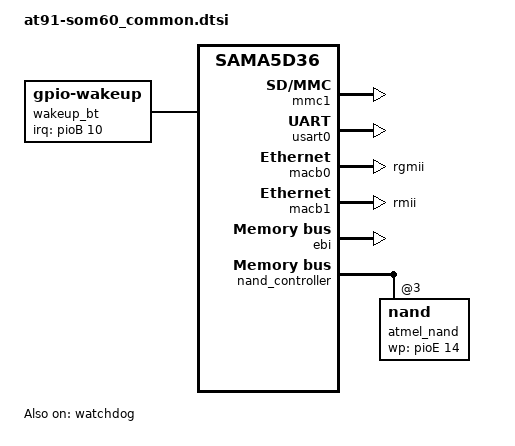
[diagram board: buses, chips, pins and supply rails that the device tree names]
// SPDX-License-Identifier: GPL-2.0
/*
 * at91-som60_common.dtsi - Device Tree common file for the SOM60 module
 *
 *  Copyright (C) 2018 Laird,
 *		  2018 Ben Whitten <ben.whitten@lairdconnect.com>
 *		  2018 Boris Krasnovskiy <boris.krasnovskiy@lairdconnect.com>
 *
 */
#include "sama5d36.dtsi"

/ {
	chosen {
		stdout-path = "serial0:115200n8";
	};

	reserved-memory {
		#address-cells = <1>;
		#size-cells = <1>;
		ranges;

		fs_reserved: fs_mem@31e000{
			reg = <0x31e000 0x2000>;
			no-map;
		};
	};

	fs_mem {
		compatible = "laird,fs_mem";
		memory-region = <&fs_reserved>;
	};

	wakeup_bt {
		pinctrl-names = "default";
		pinctrl-0 = <&pinctrl_bt_wake>;

		compatible = "gpio-wakeup";

		interrupts-extended = <&pioB 10 IRQ_TYPE_EDGE_FALLING>;
	};

	ahb {
		apb {
			sha@f8034000 {
				status = "disabled";
			};
		};
	};
};

&pinctrl {
	board {
		pinctrl_nand0_wp: nand0_wp {
			atmel,pins =
				<AT91_PIOE 14 AT91_PERIPH_GPIO AT91_PINCTRL_NONE>;
		};

		pinctrl_wifi_pmu_en: wifi_pmu_en {
			atmel,pins =
				<AT91_PIOE 5 AT91_PERIPH_GPIO AT91_PINCTRL_PULL_UP>;
		};

		pinctrl_wifi_wake: wifi_wake {
			atmel,pins =
				<AT91_PIOD 14 AT91_PERIPH_GPIO AT91_PINCTRL_PULL_UP_DEGLITCH>;
		};

		pinctrl_bt_wake: bt_wake {
			atmel,pins =
				<AT91_PIOB 10 AT91_PERIPH_GPIO AT91_PINCTRL_PULL_UP_DEGLITCH>;
		};
	};

	adc0 {
		pinctrl_adc0_adtrg_sleep: adc0_adtrg_1 {
			atmel,pins =
				<AT91_PIOD 19 AT91_PERIPH_GPIO AT91_PINCTRL_NONE>;
		};
		pinctrl_adc0_ad0_sleep: adc0_ad0_1 {
			atmel,pins =
				<AT91_PIOD 20 AT91_PERIPH_GPIO AT91_PINCTRL_NONE>;
		};
		pinctrl_adc0_ad1_sleep: adc0_ad1_1 {
			atmel,pins =
				<AT91_PIOD 21 AT91_PERIPH_GPIO AT91_PINCTRL_NONE>;
		};
		pinctrl_adc0_ad2_sleep: adc0_ad2_1 {
			atmel,pins =
				<AT91_PIOD 22 AT91_PERIPH_GPIO AT91_PINCTRL_NONE>;
		};
		pinctrl_adc0_ad3_sleep: adc0_ad3_1 {
			atmel,pins =
				<AT91_PIOD 23 AT91_PERIPH_GPIO AT91_PINCTRL_NONE>;
		};
		pinctrl_adc0_ad4_sleep: adc0_ad4_1 {
			atmel,pins =
				<AT91_PIOD 24 AT91_PERIPH_GPIO AT91_PINCTRL_NONE>;
		};
		pinctrl_adc0_ad5_sleep: adc0_ad5_1 {
			atmel,pins =
				<AT91_PIOD 25 AT91_PERIPH_GPIO AT91_PINCTRL_NONE>;	/* PD25 periph A AD5 */
		};
	};

	mmc0 {
		pinctrl_mmc0_clk_cmd_dat0_sleep: mmc0_clk_cmd_dat0_sleep {
			atmel,pins =
				<AT91_PIOD 9 AT91_PERIPH_GPIO AT91_PINCTRL_NONE	/* PD9 periph A MCI0_CK */
				 AT91_PIOD 0 AT91_PERIPH_GPIO AT91_PINCTRL_NONE	/* PD0 periph A MCI0_CDA with pullup */
				 AT91_PIOD 1 AT91_PERIPH_GPIO AT91_PINCTRL_NONE>;	/* PD1 periph A MCI0_DA0 with pullup */
		};
		pinctrl_mmc0_dat1_3_sleep: mmc0_dat1_3_sleep {
			atmel,pins =
				<AT91_PIOD 2 AT91_PERIPH_GPIO AT91_PINCTRL_NONE	/* PD2 periph A MCI0_DA1 with pullup */
				 AT91_PIOD 3 AT91_PERIPH_GPIO AT91_PINCTRL_NONE	/* PD3 periph A MCI0_DA2 with pullup */
				 AT91_PIOD 4 AT91_PERIPH_GPIO AT91_PINCTRL_NONE>;	/* PD4 periph A MCI0_DA3 with pullup */
		};
		pinctrl_mmc0_dat4_7_sleep: mmc0_dat4_7_sleep {
			atmel,pins =
				<AT91_PIOD 5 AT91_PERIPH_GPIO AT91_PINCTRL_NONE	/* PD5 periph A MCI0_DA4 with pullup, conflicts with TIOA0, PWMH2 */
				 AT91_PIOD 6 AT91_PERIPH_GPIO AT91_PINCTRL_NONE	/* PD6 periph A MCI0_DA5 with pullup, conflicts with TIOB0, PWML2 */
				 AT91_PIOD 7 AT91_PERIPH_GPIO AT91_PINCTRL_NONE	/* PD7 periph A MCI0_DA6 with pullup, conlicts with TCLK0, PWMH3 */
				 AT91_PIOD 8 AT91_PERIPH_GPIO AT91_PINCTRL_NONE>;	/* PD8 periph A MCI0_DA7 with pullup, conflicts with PWML3 */
		};
	};

	spi0 {
		pinctrl_spi0_sleep: spi0-0_sleep {
			atmel,pins =
				<AT91_PIOD 10 AT91_PERIPH_GPIO AT91_PINCTRL_NONE	/* PD10 periph A SPI0_MISO pin */
				 AT91_PIOD 11 AT91_PERIPH_GPIO AT91_PINCTRL_NONE	/* PD11 periph A SPI0_MOSI pin */
				 AT91_PIOD 12 AT91_PERIPH_GPIO AT91_PINCTRL_NONE>;	/* PD12 periph A SPI0_SPCK pin */
		};
	};

	spi1 {
		pinctrl_spi1_sleep: spi1-0_sleep {
			atmel,pins =
				<AT91_PIOC 22 AT91_PERIPH_GPIO AT91_PINCTRL_NONE	/* PC22 periph A SPI1_MISO pin */
				 AT91_PIOC 23 AT91_PERIPH_GPIO AT91_PINCTRL_NONE	/* PC23 periph A SPI1_MOSI pin */
				 AT91_PIOC 24 AT91_PERIPH_GPIO AT91_PINCTRL_NONE>;	/* PC24 periph A SPI1_SPCK pin */
		};
	};

	lcd {
		pinctrl_lcd_base_sleep: lcd-base-0_sleep {
			atmel,pins =
				<AT91_PIOA 26 AT91_PERIPH_GPIO AT91_PINCTRL_NONE	/* LCDVSYNC */
				 AT91_PIOA 27 AT91_PERIPH_GPIO AT91_PINCTRL_NONE	/* LCDHSYNC */
				 AT91_PIOA 25 AT91_PERIPH_GPIO AT91_PINCTRL_NONE	/* LCDDISP */
				 AT91_PIOA 29 AT91_PERIPH_GPIO AT91_PINCTRL_NONE	/* LCDDEN */
				 AT91_PIOA 28 AT91_PERIPH_GPIO AT91_PINCTRL_NONE>;	/* LCDPCK */
		};

		pinctrl_lcd_rgb444_sleep: lcd-rgb-0_sleep {
			atmel,pins =
				<AT91_PIOA 0 AT91_PERIPH_GPIO AT91_PINCTRL_NONE	/* LCDD0 pin */
				 AT91_PIOA 1 AT91_PERIPH_GPIO AT91_PINCTRL_NONE	/* LCDD1 pin */
				 AT91_PIOA 2 AT91_PERIPH_GPIO AT91_PINCTRL_NONE	/* LCDD2 pin */
				 AT91_PIOA 3 AT91_PERIPH_GPIO AT91_PINCTRL_NONE	/* LCDD3 pin */
				 AT91_PIOA 4 AT91_PERIPH_GPIO AT91_PINCTRL_NONE	/* LCDD4 pin */
				 AT91_PIOA 5 AT91_PERIPH_GPIO AT91_PINCTRL_NONE	/* LCDD5 pin */
				 AT91_PIOA 6 AT91_PERIPH_GPIO AT91_PINCTRL_NONE	/* LCDD6 pin */
				 AT91_PIOA 7 AT91_PERIPH_GPIO AT91_PINCTRL_NONE	/* LCDD7 pin */
				 AT91_PIOA 8 AT91_PERIPH_GPIO AT91_PINCTRL_NONE	/* LCDD8 pin */
				 AT91_PIOA 9 AT91_PERIPH_GPIO AT91_PINCTRL_NONE	/* LCDD9 pin */
				 AT91_PIOA 10 AT91_PERIPH_GPIO AT91_PINCTRL_NONE	/* LCDD10 pin */
				 AT91_PIOA 11 AT91_PERIPH_GPIO AT91_PINCTRL_NONE>;	/* LCDD11 pin */
		};

		pinctrl_lcd_rgb565_sleep: lcd-rgb-1_sleep {
			atmel,pins =
				<AT91_PIOA 0 AT91_PERIPH_GPIO AT91_PINCTRL_NONE	/* LCDD0 pin */
				 AT91_PIOA 1 AT91_PERIPH_GPIO AT91_PINCTRL_NONE	/* LCDD1 pin */
				 AT91_PIOA 2 AT91_PERIPH_GPIO AT91_PINCTRL_NONE	/* LCDD2 pin */
				 AT91_PIOA 3 AT91_PERIPH_GPIO AT91_PINCTRL_NONE	/* LCDD3 pin */
				 AT91_PIOA 4 AT91_PERIPH_GPIO AT91_PINCTRL_NONE	/* LCDD4 pin */
				 AT91_PIOA 5 AT91_PERIPH_GPIO AT91_PINCTRL_NONE	/* LCDD5 pin */
				 AT91_PIOA 6 AT91_PERIPH_GPIO AT91_PINCTRL_NONE	/* LCDD6 pin */
				 AT91_PIOA 7 AT91_PERIPH_GPIO AT91_PINCTRL_NONE	/* LCDD7 pin */
				 AT91_PIOA 8 AT91_PERIPH_GPIO AT91_PINCTRL_NONE	/* LCDD8 pin */
				 AT91_PIOA 9 AT91_PERIPH_GPIO AT91_PINCTRL_NONE	/* LCDD9 pin */
				 AT91_PIOA 10 AT91_PERIPH_GPIO AT91_PINCTRL_NONE	/* LCDD10 pin */
				 AT91_PIOA 11 AT91_PERIPH_GPIO AT91_PINCTRL_NONE	/* LCDD11 pin */
				 AT91_PIOA 12 AT91_PERIPH_GPIO AT91_PINCTRL_NONE	/* LCDD12 pin */
				 AT91_PIOA 13 AT91_PERIPH_GPIO AT91_PINCTRL_NONE	/* LCDD13 pin */
				 AT91_PIOA 14 AT91_PERIPH_GPIO AT91_PINCTRL_NONE	/* LCDD14 pin */
				 AT91_PIOA 15 AT91_PERIPH_GPIO AT91_PINCTRL_NONE>;	/* LCDD15 pin */
		};

		pinctrl_lcd_rgb666_sleep: lcd-rgb-2_sleep {
			atmel,pins =
				<AT91_PIOA 0 AT91_PERIPH_GPIO AT91_PINCTRL_NONE	/* LCDD0 pin */
				 AT91_PIOA 1 AT91_PERIPH_GPIO AT91_PINCTRL_NONE	/* LCDD1 pin */
				 AT91_PIOA 2 AT91_PERIPH_GPIO AT91_PINCTRL_NONE	/* LCDD2 pin */
				 AT91_PIOA 3 AT91_PERIPH_GPIO AT91_PINCTRL_NONE	/* LCDD3 pin */
				 AT91_PIOA 4 AT91_PERIPH_GPIO AT91_PINCTRL_NONE	/* LCDD4 pin */
				 AT91_PIOA 5 AT91_PERIPH_GPIO AT91_PINCTRL_NONE	/* LCDD5 pin */
				 AT91_PIOA 6 AT91_PERIPH_GPIO AT91_PINCTRL_NONE	/* LCDD6 pin */
				 AT91_PIOA 7 AT91_PERIPH_GPIO AT91_PINCTRL_NONE	/* LCDD7 pin */
				 AT91_PIOA 8 AT91_PERIPH_GPIO AT91_PINCTRL_NONE	/* LCDD8 pin */
				 AT91_PIOA 9 AT91_PERIPH_GPIO AT91_PINCTRL_NONE	/* LCDD9 pin */
				 AT91_PIOA 10 AT91_PERIPH_GPIO AT91_PINCTRL_NONE	/* LCDD10 pin */
				 AT91_PIOA 11 AT91_PERIPH_GPIO AT91_PINCTRL_NONE	/* LCDD11 pin */
				 AT91_PIOA 12 AT91_PERIPH_GPIO AT91_PINCTRL_NONE	/* LCDD12 pin */
				 AT91_PIOA 13 AT91_PERIPH_GPIO AT91_PINCTRL_NONE	/* LCDD13 pin */
				 AT91_PIOA 14 AT91_PERIPH_GPIO AT91_PINCTRL_NONE	/* LCDD14 pin */
				 AT91_PIOA 15 AT91_PERIPH_GPIO AT91_PINCTRL_NONE	/* LCDD15 pin */
				 AT91_PIOA 16 AT91_PERIPH_GPIO AT91_PINCTRL_NONE	/* LCDD16 pin */
				 AT91_PIOA 17 AT91_PERIPH_GPIO AT91_PINCTRL_NONE>;	/* LCDD17 pin */
		};

		pinctrl_lcd_rgb888_sleep: lcd-rgb-3_sleep {
			atmel,pins =
				<AT91_PIOA 0 AT91_PERIPH_GPIO AT91_PINCTRL_NONE	/* LCDD0 pin */
				 AT91_PIOA 1 AT91_PERIPH_GPIO AT91_PINCTRL_NONE	/* LCDD1 pin */
				 AT91_PIOA 2 AT91_PERIPH_GPIO AT91_PINCTRL_NONE	/* LCDD2 pin */
				 AT91_PIOA 3 AT91_PERIPH_GPIO AT91_PINCTRL_NONE	/* LCDD3 pin */
				 AT91_PIOA 4 AT91_PERIPH_GPIO AT91_PINCTRL_NONE	/* LCDD4 pin */
				 AT91_PIOA 5 AT91_PERIPH_GPIO AT91_PINCTRL_NONE	/* LCDD5 pin */
				 AT91_PIOA 6 AT91_PERIPH_GPIO AT91_PINCTRL_NONE	/* LCDD6 pin */
				 AT91_PIOA 7 AT91_PERIPH_GPIO AT91_PINCTRL_NONE	/* LCDD7 pin */
				 AT91_PIOA 8 AT91_PERIPH_GPIO AT91_PINCTRL_NONE	/* LCDD8 pin */
				 AT91_PIOA 9 AT91_PERIPH_GPIO AT91_PINCTRL_NONE	/* LCDD9 pin */
				 AT91_PIOA 10 AT91_PERIPH_GPIO AT91_PINCTRL_NONE	/* LCDD10 pin */
				 AT91_PIOA 11 AT91_PERIPH_GPIO AT91_PINCTRL_NONE	/* LCDD11 pin */
				 AT91_PIOA 12 AT91_PERIPH_GPIO AT91_PINCTRL_NONE	/* LCDD12 pin */
				 AT91_PIOA 13 AT91_PERIPH_GPIO AT91_PINCTRL_NONE	/* LCDD13 pin */
				 AT91_PIOA 14 AT91_PERIPH_GPIO AT91_PINCTRL_NONE	/* LCDD14 pin */
				 AT91_PIOA 15 AT91_PERIPH_GPIO AT91_PINCTRL_NONE	/* LCDD15 pin */
				 AT91_PIOA 16 AT91_PERIPH_GPIO AT91_PINCTRL_NONE	/* LCDD16 pin */
				 AT91_PIOA 17 AT91_PERIPH_GPIO AT91_PINCTRL_NONE	/* LCDD17 pin */
				 AT91_PIOA 18 AT91_PERIPH_GPIO AT91_PINCTRL_NONE	/* LCDD18 pin */
				 AT91_PIOA 19 AT91_PERIPH_GPIO AT91_PINCTRL_NONE	/* LCDD19 pin */
				 AT91_PIOA 20 AT91_PERIPH_GPIO AT91_PINCTRL_NONE	/* LCDD20 pin */
				 AT91_PIOA 21 AT91_PERIPH_GPIO AT91_PINCTRL_NONE	/* LCDD21 pin */
				 AT91_PIOA 22 AT91_PERIPH_GPIO AT91_PINCTRL_NONE	/* LCDD22 pin */
				 AT91_PIOA 23 AT91_PERIPH_GPIO AT91_PINCTRL_NONE>;	/* LCDD23 pin */
		};
	};
};

&watchdog {
	atmel,idle-halt;

	status = "okay";
};

&slow_xtal {
	clock-frequency = <32768>;
};

&main_xtal {
	clock-frequency = <12000000>;
};

&slow_osc {
	atmel,osc-bypass;
};

&tcb0 {
	timer0: timer@0 {
		compatible = "atmel,tcb-timer";
		reg = <0>;
	};

	timer1: timer@1 {
		compatible = "atmel,tcb-timer";
		reg = <1>;
	};
};

&mmc0 {
	slot@0 {
		reg = <0>;
		bus-width = <4>;
	};
};

&mmc1 {
	pinctrl-0 = <&pinctrl_mmc1_clk_cmd_dat0 &pinctrl_mmc1_dat1_3
		&pinctrl_wifi_wake &pinctrl_wifi_pmu_en>;

	status = "okay";

	keep-power-in-suspend;

	slot@0 {
		reg = <0>;
		bus-width = <4>;

		non-removable;

		wifi: wifi {
			compatible = "marvell,sd8997";
			interrupts-extended = <&pioD 14 IRQ_TYPE_EDGE_FALLING>;
			reset-gpios = <&pioE 5 GPIO_ACTIVE_HIGH>;
		};
	};
};

&usart0 {
	pinctrl-0 = <&pinctrl_usart0 &pinctrl_usart0_rts_cts>;

	status = "okay";

	atmel,use-dma-rx;
	atmel,use-dma-tx;
};

&adc0 {
	pinctrl-names = "default", "sleep";
	pinctrl-0 = <
		&pinctrl_adc0_adtrg
		&pinctrl_adc0_ad0
		&pinctrl_adc0_ad1
		&pinctrl_adc0_ad2
		&pinctrl_adc0_ad3
		&pinctrl_adc0_ad4
		&pinctrl_adc0_ad5
		>;

	pinctrl-1 = <
		&pinctrl_adc0_adtrg_sleep
		&pinctrl_adc0_ad0_sleep
		&pinctrl_adc0_ad1_sleep
		&pinctrl_adc0_ad2_sleep
		&pinctrl_adc0_ad3_sleep
		&pinctrl_adc0_ad4_sleep
		&pinctrl_adc0_ad5_sleep
		>;

	atmel,adc-vref = <3300>;
};

&macb0 {
	#address-cells = <1>;
	#size-cells = <0>;

	phy-mode = "rgmii";
};

&macb1 {
	#address-cells = <1>;
	#size-cells = <0>;

	phy-mode = "rmii";
};

&ebi {
	pinctrl-names = "default";
	pinctrl-0 = <&pinctrl_ebi_nand_addr &pinctrl_nand0_wp>;
	status = "okay";
};

&nand_controller {
	status = "okay";

	nand: nand@3 {
		reg = <0x3 0x0 0x2>;
		atmel,rb = <0>;
		nand-bus-width = <8>;
		nand-ecc-mode = "hw";
		nand-ecc-strength = <8>;
		nand-ecc-step-size = <512>;

		/*
		 * Note - nand-on-flash-bbt requires the last 4 blocks on
		 * flash to be reserved for bad block table.  These blocks
		 * can be used in partitions only if bbt is not stored on flash.
		 */
		nand-on-flash-bbt;
		label = "atmel_nand";

		wp-gpios = <&pioE 14 GPIO_ACTIVE_HIGH>;

		nand_partitions: partitions {
			compatible = "fixed-partitions";
			#address-cells = <1>;
			#size-cells = <1>;
		};
	};
};
